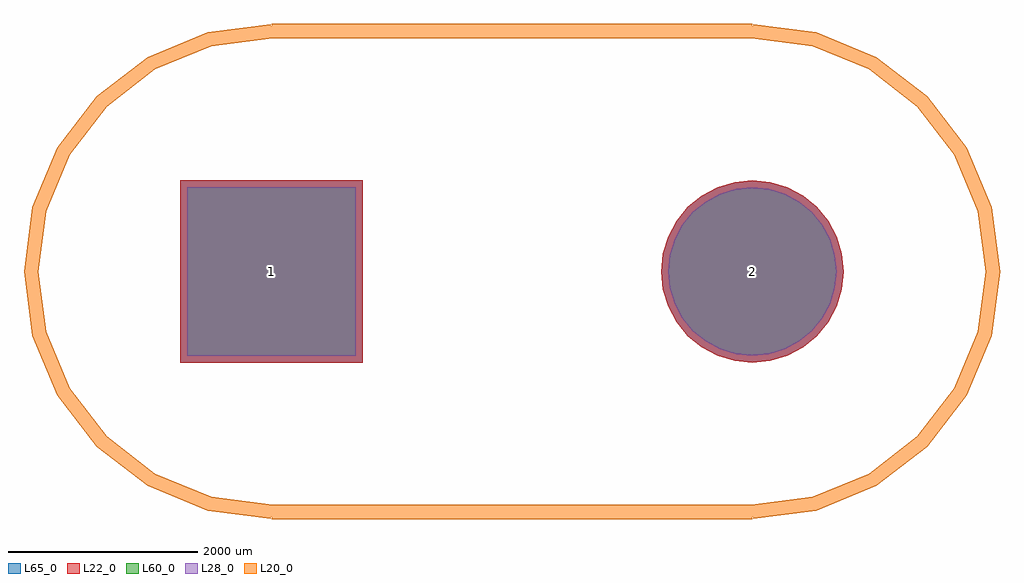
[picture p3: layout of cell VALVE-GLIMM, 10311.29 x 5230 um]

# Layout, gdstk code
import gdstk
lib = gdstk.Library(unit=1e-6, precision=1e-09)
def R(c, l, rs):  # rectangles x0, y0, x1, y1
    for r in rs: c.add(gdstk.rectangle(r[:2], r[2:], *l))
def P(c, l, *ps):  # polygons
    for p in ps: c.add(gdstk.Polygon(p, *l))
L20_0 = (20, 0)
L22_0 = (22, 0)
L28_0 = (28, 0)
L60_0 = (60, 0)
L65_0 = (65, 0)

valve_glimm = lib.new_cell('VALVE-GLIMM')
R(valve_glimm, L22_0, [(-2234,-964,-306,964)])
P(valve_glimm, L22_0, [(4774,0),(4755.477,188.067),(4700.62,368.907),(4611.537,535.57),(4491.651,681.651),(4345.57,801.537),(4178.907,890.62),(3998.067,945.477),(3810,964),(3621.933,945.477),(3441.093,890.62),(3274.43,801.537),(3128.349,681.651),(3008.463,535.57),(2919.38,368.907),(2864.523,188.067),(2846,0),(2864.523,-188.067),(2919.38,-368.907),(3008.463,-535.57),(3128.349,-681.651),(3274.43,-801.537),(3441.093,-890.62),(3621.933,-945.477),(3810,-964),(3998.067,-945.477),(4178.907,-890.62),(4345.57,-801.537),(4491.651,-681.651),(4611.537,-535.57),(4700.62,-368.907),(4755.477,-188.067)])
R(valve_glimm, L28_0, [(-2159,-889,-381,889)])
P(valve_glimm, L28_0, [(4699,0),(4681.918,173.435),(4631.329,340.206),(4549.176,493.902),(4438.618,628.618),(4303.902,739.176),(4150.206,821.329),(3983.435,871.918),(3810,889),(3636.565,871.918),(3469.794,821.329),(3316.098,739.176),(3181.382,628.618),(3070.824,493.902),(2988.671,340.206),(2938.082,173.435),(2921,0),(2938.082,-173.435),(2988.671,-340.206),(3070.824,-493.902),(3181.382,-628.618),(3316.098,-739.176),(3469.794,-821.329),(3636.565,-871.918),(3810,-889),(3983.435,-871.918),(4150.206,-821.329),(4303.902,-739.176),(4438.618,-628.618),(4549.176,-493.902),(4631.329,-340.206),(4681.918,-173.435)])
R(valve_glimm, L60_0, [(-2159,-889,-381,889)])
P(valve_glimm, L60_0, [(4699,0),(4681.918,173.435),(4631.329,340.206),(4549.176,493.902),(4438.618,628.618),(4303.902,739.176),(4150.206,821.329),(3983.435,871.918),(3810,889),(3636.565,871.918),(3469.794,821.329),(3316.098,739.176),(3181.382,628.618),(3070.824,493.902),(2988.671,340.206),(2938.082,173.435),(2921,0),(2938.082,-173.435),(2988.671,-340.206),(3070.824,-493.902),(3181.382,-628.618),(3316.098,-739.176),(3469.794,-821.329),(3636.565,-871.918),(3810,-889),(3983.435,-871.918),(4150.206,-821.329),(4303.902,-739.176),(4438.618,-628.618),(4549.176,-493.902),(4631.329,-340.206),(4681.918,-173.435)])
R(valve_glimm, L65_0, [(-2234,-964,-306,964)])
P(valve_glimm, L65_0, [(4774,0),(4755.477,188.067),(4700.62,368.907),(4611.537,535.57),(4491.651,681.651),(4345.57,801.537),(4178.907,890.62),(3998.067,945.477),(3810,964),(3621.933,945.477),(3441.093,890.62),(3274.43,801.537),(3128.349,681.651),(3008.463,535.57),(2919.38,368.907),(2864.523,188.067),(2846,0),(2864.523,-188.067),(2919.38,-368.907),(3008.463,-535.57),(3128.349,-681.651),(3274.43,-801.537),(3441.093,-890.62),(3621.933,-945.477),(3810,-964),(3998.067,-945.477),(4178.907,-890.62),(4345.57,-801.537),(4491.651,-681.651),(4611.537,-535.57),(4700.62,-368.907),(4755.477,-188.067)])
valve_glimm.add(gdstk.FlexPath([(3810,-2540),(4467.4,-2453.452),(5080,-2199.705),(5606.051,-1796.051),(6009.705,-1270),(6263.452,-657.4),(6350,0),(6263.452,657.4),(6009.705,1270),(5606.051,1796.051),(5080,2199.705),(4467.4,2453.452),(3810,2540)], 149.998, ends="flush", simple_path=True, layer=20, datatype=0))  # L20_0
valve_glimm.add(gdstk.FlexPath([(-1270,2540),(-1927.4,2453.452),(-2540,2199.705),(-3066.051,1796.051),(-3469.705,1270),(-3723.452,657.4),(-3810,0),(-3723.452,-657.4),(-3469.705,-1270),(-3066.051,-1796.051),(-2540,-2199.705),(-1927.4,-2453.452),(-1270,-2540)], 149.998, ends="flush", simple_path=True, layer=20, datatype=0))  # L20_0
valve_glimm.add(gdstk.FlexPath([(-1270,-2540),(3810,-2540)], 149.998, ends="flush", simple_path=True, layer=20, datatype=0))  # L20_0
valve_glimm.add(gdstk.FlexPath([(-1270,2540),(3810,2540)], 149.998, ends="flush", simple_path=True, layer=20, datatype=0))  # L20_0
valve_glimm.add(gdstk.Label('2', (3810,0), layer=28, texttype=0))
valve_glimm.add(gdstk.Label('1', (-1270,0), layer=28, texttype=0))
valve_glimm.add(gdstk.Label('type', (2181.86,-4191), layer=9, texttype=0))
valve_glimm.add(gdstk.Label('devicename', (1270,4572), layer=9, texttype=0))

lib.write_gds('VALVE-GLIMM.gds')
